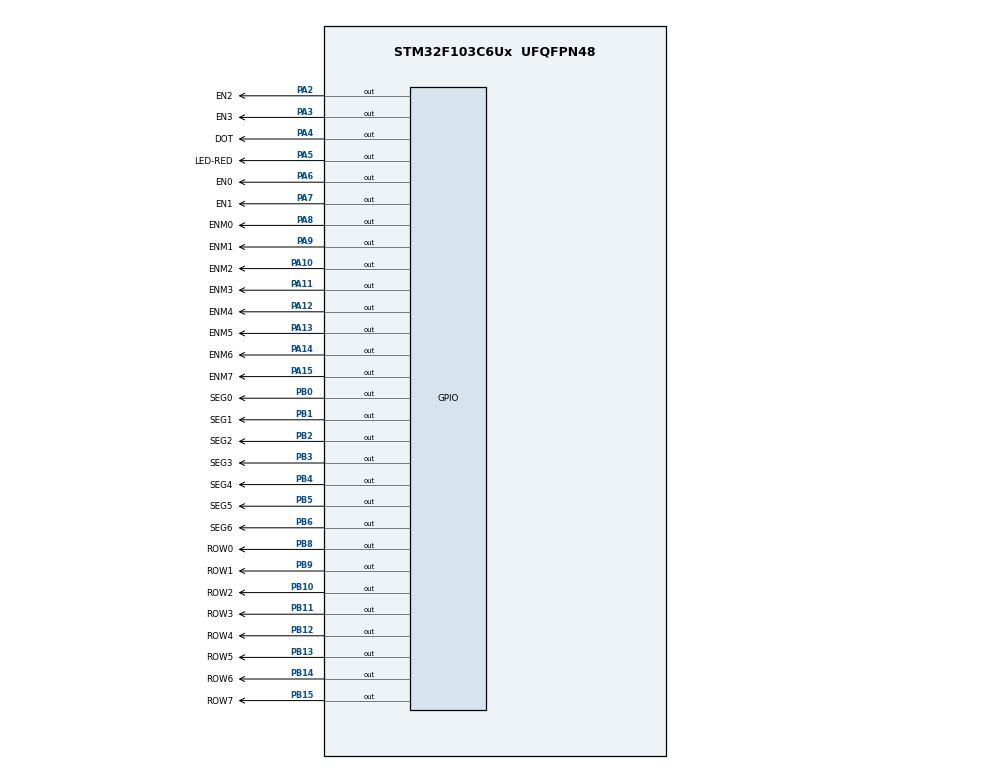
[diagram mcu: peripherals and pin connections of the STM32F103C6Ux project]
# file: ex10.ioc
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Mcu.Family=STM32F1
Mcu.Name=STM32F103C6Ux
Mcu.Package=UFQFPN48
NVIC.PriorityGroup=NVIC_PRIORITYGROUP_4
NVIC.TIM2_IRQn=true\:0\:0\:false\:false\:true\:true\:true\:true
PA10.GPIO_Label=ENM2
PA10.Signal=GPIO_Output
PA11.GPIO_Label=ENM3
PA11.Signal=GPIO_Output
PA12.GPIO_Label=ENM4
PA12.Signal=GPIO_Output
PA13.GPIO_Label=ENM5
PA13.Signal=GPIO_Output
PA14.GPIO_Label=ENM6
PA14.Signal=GPIO_Output
PA15.GPIO_Label=ENM7
PA15.Signal=GPIO_Output
PA2.GPIO_Label=EN2
PA2.Signal=GPIO_Output
PA3.GPIO_Label=EN3
PA3.Signal=GPIO_Output
PA4.GPIO_Label=DOT
PA4.Signal=GPIO_Output
PA5.GPIO_Label=LED-RED
PA5.Signal=GPIO_Output
PA6.GPIO_Label=EN0
PA6.Signal=GPIO_Output
PA7.GPIO_Label=EN1
PA7.Signal=GPIO_Output
PA8.GPIO_Label=ENM0
PA8.Signal=GPIO_Output
PA9.GPIO_Label=ENM1
PA9.Signal=GPIO_Output
PB0.GPIO_Label=SEG0
PB0.Signal=GPIO_Output
PB1.GPIO_Label=SEG1
PB1.Signal=GPIO_Output
PB10.GPIO_Label=ROW2
PB10.Signal=GPIO_Output
PB11.GPIO_Label=ROW3
PB11.Signal=GPIO_Output
PB12.GPIO_Label=ROW4
PB12.Signal=GPIO_Output
PB13.GPIO_Label=ROW5
PB13.Signal=GPIO_Output
PB14.GPIO_Label=ROW6
PB14.Signal=GPIO_Output
PB15.GPIO_Label=ROW7
PB15.Signal=GPIO_Output
PB2.GPIO_Label=SEG2
PB2.Signal=GPIO_Output
PB3.GPIO_Label=SEG3
PB3.Signal=GPIO_Output
PB4.GPIO_Label=SEG4
PB4.Signal=GPIO_Output
PB5.GPIO_Label=SEG5
PB5.Signal=GPIO_Output
PB6.GPIO_Label=SEG6
PB6.Signal=GPIO_Output
PB8.GPIO_Label=ROW0
PB8.Signal=GPIO_Output
PB9.GPIO_Label=ROW1
PB9.Signal=GPIO_Output
ProjectManager.HeapSize=0x200
ProjectManager.StackSize=0x400
ProjectManager.TargetToolchain=STM32CubeIDE
RCC.APB1Freq_Value=8000000
RCC.APB2Freq_Value=8000000
TIM2.Period=9
TIM2.Prescaler=7999
VP_TIM2_VS_ClockSourceINT.Mode=Internal
board=custom

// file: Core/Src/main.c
/* USER CODE BEGIN Header */
/**
  ******************************************************************************
  * @file           : main.c
  * @brief          : Main program body
  ******************************************************************************
  * @attention
  *
  * Copyright (c) 2022 STMicroelectronics.
  * All rights reserved.
  *
  * This software is licensed under terms that can be found in the LICENSE file
  * in the root directory of this software component.
  * If no LICENSE file comes with this software, it is provided AS-IS.
  *
  ******************************************************************************
  */
/* USER CODE END Header */
#include "main.h"

TIM_HandleTypeDef htim2;

void SystemClock_Config(void);
static void MX_GPIO_Init(void);
static void MX_TIM2_Init(void);

/* USER CODE BEGIN 0 */
void display7SEG(int num) {
	switch(num) {
	case 0:
		HAL_GPIO_WritePin(GPIOB, GPIO_PIN_0, RESET);
		HAL_GPIO_WritePin(GPIOB, GPIO_PIN_1, RESET);
		HAL_GPIO_WritePin(GPIOB, GPIO_PIN_2, RESET);
		HAL_GPIO_WritePin(GPIOB, GPIO_PIN_3, RESET);
		HAL_GPIO_WritePin(GPIOB, GPIO_PIN_4, RESET);
		HAL_GPIO_WritePin(GPIOB, GPIO_PIN_5, RESET);
		HAL_GPIO_WritePin(GPIOB, GPIO_PIN_6, SET);
		break;
	case 1:
		HAL_GPIO_WritePin(GPIOB, GPIO_PIN_0, SET);
		HAL_GPIO_WritePin(GPIOB, GPIO_PIN_1, RESET);
		HAL_GPIO_WritePin(GPIOB, GPIO_PIN_2, RESET);
		HAL_GPIO_WritePin(GPIOB, GPIO_PIN_3, SET);
		HAL_GPIO_WritePin(GPIOB, GPIO_PIN_4, SET);
		HAL_GPIO_WritePin(GPIOB, GPIO_PIN_5, SET);
		HAL_GPIO_WritePin(GPIOB, GPIO_PIN_6, SET);
		break;
	case 2:
		HAL_GPIO_WritePin(GPIOB, GPIO_PIN_0, RESET);
		HAL_GPIO_WritePin(GPIOB, GPIO_PIN_1, RESET);
		HAL_GPIO_WritePin(GPIOB, GPIO_PIN_2, SET);
		HAL_GPIO_WritePin(GPIOB, GPIO_PIN_3, RESET);
		HAL_GPIO_WritePin(GPIOB, GPIO_PIN_4, RESET);
		HAL_GPIO_WritePin(GPIOB, GPIO_PIN_5, SET);
		HAL_GPIO_WritePin(GPIOB, GPIO_PIN_6, RESET);
		break;
	case 3:
		HAL_GPIO_WritePin(GPIOB, GPIO_PIN_0, RESET);
		HAL_GPIO_WritePin(GPIOB, GPIO_PIN_1, RESET);
		HAL_GPIO_WritePin(GPIOB, GPIO_PIN_2, RESET);
		HAL_GPIO_WritePin(GPIOB, GPIO_PIN_3, RESET);
		HAL_GPIO_WritePin(GPIOB, GPIO_PIN_4, SET);
		HAL_GPIO_WritePin(GPIOB, GPIO_PIN_5, SET);
		HAL_GPIO_WritePin(GPIOB, GPIO_PIN_6, RESET);
		break;
	case 4:
		HAL_GPIO_WritePin(GPIOB, GPIO_PIN_0, SET);
		HAL_GPIO_WritePin(GPIOB, GPIO_PIN_1, RESET);
		HAL_GPIO_WritePin(GPIOB, GPIO_PIN_2, RESET);
		HAL_GPIO_WritePin(GPIOB, GPIO_PIN_3, SET);
		HAL_GPIO_WritePin(GPIOB, GPIO_PIN_4, SET);
		HAL_GPIO_WritePin(GPIOB, GPIO_PIN_5, RESET);
		HAL_GPIO_WritePin(GPIOB, GPIO_PIN_6, RESET);
		break;
	case 5:
		HAL_GPIO_WritePin(GPIOB, GPIO_PIN_0, RESET);
		HAL_GPIO_WritePin(GPIOB, GPIO_PIN_1, SET);
		HAL_GPIO_WritePin(GPIOB, GPIO_PIN_2, RESET);
		HAL_GPIO_WritePin(GPIOB, GPIO_PIN_3, RESET);
		HAL_GPIO_WritePin(GPIOB, GPIO_PIN_4, SET);
		HAL_GPIO_WritePin(GPIOB, GPIO_PIN_5, RESET);
		HAL_GPIO_WritePin(GPIOB, GPIO_PIN_6, RESET);
		break;
	case 6:
		HAL_GPIO_WritePin(GPIOB, GPIO_PIN_0, RESET);
		HAL_GPIO_WritePin(GPIOB, GPIO_PIN_1, SET);
		HAL_GPIO_WritePin(GPIOB, GPIO_PIN_2, RESET);
		HAL_GPIO_WritePin(GPIOB, GPIO_PIN_3, RESET);
		HAL_GPIO_WritePin(GPIOB, GPIO_PIN_4, RESET);
		HAL_GPIO_WritePin(GPIOB, GPIO_PIN_5, RESET);
		HAL_GPIO_WritePin(GPIOB, GPIO_PIN_6, RESET);
		break;
	case 7:
		HAL_GPIO_WritePin(GPIOB, GPIO_PIN_0, RESET);
		HAL_GPIO_WritePin(GPIOB, GPIO_PIN_1, RESET);
		HAL_GPIO_WritePin(GPIOB, GPIO_PIN_2, RESET);
		HAL_GPIO_WritePin(GPIOB, GPIO_PIN_3, SET);
		HAL_GPIO_WritePin(GPIOB, GPIO_PIN_4, SET);
		HAL_GPIO_WritePin(GPIOB, GPIO_PIN_5, SET);
		HAL_GPIO_WritePin(GPIOB, GPIO_PIN_6, SET);
		break;
	case 8:
		HAL_GPIO_WritePin(GPIOB, GPIO_PIN_0, RESET);
		HAL_GPIO_WritePin(GPIOB, GPIO_PIN_1, RESET);
		HAL_GPIO_WritePin(GPIOB, GPIO_PIN_2, RESET);
		HAL_GPIO_WritePin(GPIOB, GPIO_PIN_3, RESET);
		HAL_GPIO_WritePin(GPIOB, GPIO_PIN_4, RESET);
		HAL_GPIO_WritePin(GPIOB, GPIO_PIN_5, RESET);
		HAL_GPIO_WritePin(GPIOB, GPIO_PIN_6, RESET);
		break;
	case 9:
		HAL_GPIO_WritePin(GPIOB, GPIO_PIN_0, RESET);
		HAL_GPIO_WritePin(GPIOB, GPIO_PIN_1, RESET);
		HAL_GPIO_WritePin(GPIOB, GPIO_PIN_2, RESET);
		HAL_GPIO_WritePin(GPIOB, GPIO_PIN_3, RESET);
		HAL_GPIO_WritePin(GPIOB, GPIO_PIN_4, SET);
		HAL_GPIO_WritePin(GPIOB, GPIO_PIN_5, RESET);
		HAL_GPIO_WritePin(GPIOB, GPIO_PIN_6, RESET);
		break;
	}
}

const int MAX_LED = 4;
int index_led = 0;
int led_buffer [4] = {1 , 2 , 3 , 4};
void update7SEG ( int index ) {
	switch ( index ) {
	case 0:
		// Display the first 7 SEG with led_buffer [0]
		HAL_GPIO_WritePin(GPIOA, GPIO_PIN_6, 0);
		HAL_GPIO_WritePin(GPIOA, GPIO_PIN_7|GPIO_PIN_2|GPIO_PIN_3, 1);
		display7SEG(led_buffer[0]);
		break ;
	case 1:
		// Display the second 7 SEG with led_buffer [1]
		HAL_GPIO_WritePin(GPIOA, GPIO_PIN_7, 0);
		HAL_GPIO_WritePin(GPIOA, GPIO_PIN_6|GPIO_PIN_2|GPIO_PIN_3, 1);
		display7SEG(led_buffer[1]);
		break ;
	case 2:
		// Display the third 7 SEG with led_buffer [2]
		HAL_GPIO_WritePin(GPIOA, GPIO_PIN_2, 0);
		HAL_GPIO_WritePin(GPIOA, GPIO_PIN_6|GPIO_PIN_7|GPIO_PIN_3, 1);
		display7SEG(led_buffer[2]);
		break ;
	case 3:
		// Display the forth 7 SEG with led_buffer [3]
		HAL_GPIO_WritePin(GPIOA, GPIO_PIN_3, 0);
		HAL_GPIO_WritePin(GPIOA, GPIO_PIN_6|GPIO_PIN_7|GPIO_PIN_2, 1);
		display7SEG(led_buffer[3]);
		break ;
	default :
		break ;
	}
 }

int hour = 15 , minute = 8 , second = 50;
void updateClockBuffer() {
	led_buffer[0] = hour/10;
	led_buffer[1] = hour%10;
	led_buffer[2] = minute/10;
	led_buffer[3] = minute%10;
}

//Software timer
int TIMER_CYCLE = 10;
int timer0_counter = 0;
int timer0_flag = 0;

int timer1_counter = 0;
int timer1_flag = 0;

int timer2_counter = 0;
int timer2_flag = 0;

int timer3_counter = 0;
int timer3_flag = 0;
void setTimer0 ( int duration ) {
	timer0_counter = duration / TIMER_CYCLE ;
	timer0_flag = 0;
}
void setTimer1 ( int duration ) {
	timer1_counter = duration / TIMER_CYCLE ;
	timer1_flag = 0;
}
void setTimer2 ( int duration ) {
	timer2_counter = duration / TIMER_CYCLE ;
	timer2_flag = 0;
}
void setTimer3 ( int duration ) {
	timer3_counter = duration / TIMER_CYCLE ;
	timer3_flag = 0;
}
void timer_run () {
	if (timer0_counter > 0) {
		timer0_counter --;
		if( timer0_counter == 0) timer0_flag = 1;
	}
	if (timer1_counter > 0) {
		timer1_counter --;
		if( timer1_counter == 0) timer1_flag = 1;
	}
	if (timer2_counter > 0) {
		timer2_counter --;
		if( timer2_counter == 0) timer2_flag = 1;
	}
	if (timer3_counter > 0) {
		timer3_counter --;
		if( timer3_counter == 0) timer3_flag = 1;
	}
}

// hien thuc led matrix
const int MAX_LED_MATRIX = 8;
int index_led_matrix = 0;
uint8_t matrix_buffer[8] = { 0x00, 0x7C, 0x7E, 0x13, 0x13, 0x7E, 0x7C, 0x00}; //thu tu moi column led cua 'A'
void updateLEDMatrix (int index ) {
	GPIOB->BSRR = (1<<24)|(1<<25)|(1<<26)|(1<<27)|(1<<28)|(1<<29)|(1<<30)|(1<<31);
	GPIOA->BSRR = (1<<24)|(1<<25)|(1<<26)|(1<<27)|(1<<28)|(1<<29)|(1<<30)|(1<<31);
	switch ( index ) {
	case 0:
		HAL_GPIO_WritePin(GPIOB, GPIO_PIN_8, SET);
		GPIOA->ODR |= matrix_buffer[0]<<8;
		break ;
	case 1:
		HAL_GPIO_WritePin(GPIOB, GPIO_PIN_9, SET);
		GPIOA->ODR |= matrix_buffer[1]<<8;
		break ;
	case 2:
		HAL_GPIO_WritePin(GPIOB, GPIO_PIN_10, SET);
		GPIOA->ODR |= matrix_buffer[2]<<8;
		break ;
	case 3:
		HAL_GPIO_WritePin(GPIOB, GPIO_PIN_11, SET);
		GPIOA->ODR |= matrix_buffer[3]<<8;
		break ;
	case 4:
		HAL_GPIO_WritePin(GPIOB, GPIO_PIN_12, SET);
		GPIOA->ODR |= matrix_buffer[4]<<8;
		break ;
	case 5:
		HAL_GPIO_WritePin(GPIOB, GPIO_PIN_13, SET);
		GPIOA->ODR |= matrix_buffer[5]<<8;
		break ;
	case 6:
		HAL_GPIO_WritePin(GPIOB, GPIO_PIN_14, SET);
		GPIOA->ODR |= matrix_buffer[6]<<8;
		break ;
	case 7:
		HAL_GPIO_WritePin(GPIOB, GPIO_PIN_15, SET);
		GPIOA->ODR |= matrix_buffer[7]<<8;
		break ;
	default :
		break ;
	}
}

//update shift left
void updateLEDMatrix1 (int index, int shift) {
	GPIOB->BSRR = (1<<24)|(1<<25)|(1<<26)|(1<<27)|(1<<28)|(1<<29)|(1<<30)|(1<<31);
	GPIOA->BSRR = (1<<24)|(1<<25)|(1<<26)|(1<<27)|(1<<28)|(1<<29)|(1<<30)|(1<<31);
	int index_1;
	if (index + shift > 8) index_1 = shift + index - 8;
	else index_1 = index + shift;
	switch ( index ) {
	case 0:
		HAL_GPIO_WritePin(GPIOB, GPIO_PIN_8, SET);
		GPIOA->ODR |= matrix_buffer[index_1]<<8;
		break ;
	case 1:
		HAL_GPIO_WritePin(GPIOB, GPIO_PIN_9, SET);
		GPIOA->ODR |= matrix_buffer[index_1]<<8;
		break ;
	case 2:
		HAL_GPIO_WritePin(GPIOB, GPIO_PIN_10, SET);
		GPIOA->ODR |= matrix_buffer[index_1]<<8;
		break ;
	case 3:
		HAL_GPIO_WritePin(GPIOB, GPIO_PIN_11, SET);
		GPIOA->ODR |= matrix_buffer[index_1]<<8;
		break ;
	case 4:
		HAL_GPIO_WritePin(GPIOB, GPIO_PIN_12, SET);
		GPIOA->ODR |= matrix_buffer[index_1]<<8;
		break ;
	case 5:
		HAL_GPIO_WritePin(GPIOB, GPIO_PIN_13, SET);
		GPIOA->ODR |= matrix_buffer[index_1]<<8;
		break ;
	case 6:
		HAL_GPIO_WritePin(GPIOB, GPIO_PIN_14, SET);
		GPIOA->ODR |= matrix_buffer[index_1]<<8;
		break ;
	case 7:
		HAL_GPIO_WritePin(GPIOB, GPIO_PIN_15, SET);
		GPIOA->ODR |= matrix_buffer[index_1]<<8;
		break ;
	default :
		break ;
	}
}

/* USER CODE END 0 */

int main(void)
{

  /* MCU Configuration--------------------------------------------------------*/

  /* Reset of all peripherals, Initializes the Flash interface and the Systick. */
  HAL_Init();

  /* Configure the system clock */
  SystemClock_Config();

  /* Initialize all configured peripherals */
  MX_GPIO_Init();
  MX_TIM2_Init();
  /* USER CODE BEGIN 2 */
  HAL_TIM_Base_Start_IT(&htim2);
  setTimer0(1000);
  setTimer1(1000);
  setTimer2(250);
  setTimer3(50);
  int shift = 0;
  /* USER CODE END 2 */

  /* Infinite loop */
  /* USER CODE BEGIN WHILE */
  while (1)
  {
	  if (timer0_flag == 1) {
		  HAL_GPIO_TogglePin(GPIOA, GPIO_PIN_5);
		  HAL_GPIO_TogglePin(GPIOA, GPIO_PIN_4);
		  setTimer0(1000);
	  }
	  if (timer1_flag == 1) {
		  second ++;
		  if (second >= 60) {
			  second = 0;
			  minute ++;
		  }
		  if (minute >= 60) {
			  minute = 0;
			  hour ++;
		  }
		  if(hour >= 24) {
			  hour = 0;
		  }
		  updateClockBuffer () ;
		  setTimer1(1000);
	  }
	  if (timer2_flag == 1) {
		  if (index_led >= 4) index_led = 0;
		  update7SEG(index_led++);
		  setTimer2(250);
	  }
	  if (timer3_flag == 1) {
		  if (index_led_matrix >= 8){
			  index_led_matrix = 0;
			  shift++;
			  if (shift >= 8) shift = 0;
		  }
		  updateLEDMatrix1(index_led_matrix++, shift);
		  setTimer3(50);
	  }
    /* USER CODE END WHILE */

  }
}

void SystemClock_Config(void)
{
  RCC_OscInitTypeDef RCC_OscInitStruct = {0};
  RCC_ClkInitTypeDef RCC_ClkInitStruct = {0};

  /** Initializes the RCC Oscillators according to the specified parameters
  * in the RCC_OscInitTypeDef structure.
  */
  RCC_OscInitStruct.OscillatorType = RCC_OSCILLATORTYPE_HSI;
  RCC_OscInitStruct.HSIState = RCC_HSI_ON;
  RCC_OscInitStruct.HSICalibrationValue = RCC_HSICALIBRATION_DEFAULT;
  RCC_OscInitStruct.PLL.PLLState = RCC_PLL_NONE;
  if (HAL_RCC_OscConfig(&RCC_OscInitStruct) != HAL_OK)
  {
    Error_Handler();
  }

  /** Initializes the CPU, AHB and APB buses clocks
  */
  RCC_ClkInitStruct.ClockType = RCC_CLOCKTYPE_HCLK|RCC_CLOCKTYPE_SYSCLK
                              |RCC_CLOCKTYPE_PCLK1|RCC_CLOCKTYPE_PCLK2;
  RCC_ClkInitStruct.SYSCLKSource = RCC_SYSCLKSOURCE_HSI;
  RCC_ClkInitStruct.AHBCLKDivider = RCC_SYSCLK_DIV1;
  RCC_ClkInitStruct.APB1CLKDivider = RCC_HCLK_DIV1;
  RCC_ClkInitStruct.APB2CLKDivider = RCC_HCLK_DIV1;

  if (HAL_RCC_ClockConfig(&RCC_ClkInitStruct, FLASH_LATENCY_0) != HAL_OK)
  {
    Error_Handler();
  }
}

static void MX_TIM2_Init(void)
{

  TIM_ClockConfigTypeDef sClockSourceConfig = {0};
  TIM_MasterConfigTypeDef sMasterConfig = {0};

  htim2.Instance = TIM2;
  htim2.Init.Prescaler = 7999;
  htim2.Init.CounterMode = TIM_COUNTERMODE_UP;
  htim2.Init.Period = 9;
  htim2.Init.ClockDivision = TIM_CLOCKDIVISION_DIV1;
  htim2.Init.AutoReloadPreload = TIM_AUTORELOAD_PRELOAD_DISABLE;
  if (HAL_TIM_Base_Init(&htim2) != HAL_OK)
  {
    Error_Handler();
  }
  sClockSourceConfig.ClockSource = TIM_CLOCKSOURCE_INTERNAL;
  if (HAL_TIM_ConfigClockSource(&htim2, &sClockSourceConfig) != HAL_OK)
  {
    Error_Handler();
  }
  sMasterConfig.MasterOutputTrigger = TIM_TRGO_RESET;
  sMasterConfig.MasterSlaveMode = TIM_MASTERSLAVEMODE_DISABLE;
  if (HAL_TIMEx_MasterConfigSynchronization(&htim2, &sMasterConfig) != HAL_OK)
  {
    Error_Handler();
  }

}

static void MX_GPIO_Init(void)
{
  GPIO_InitTypeDef GPIO_InitStruct = {0};

  /* GPIO Ports Clock Enable */
  __HAL_RCC_GPIOA_CLK_ENABLE();
  __HAL_RCC_GPIOB_CLK_ENABLE();

  /*Configure GPIO pin Output Level */
  HAL_GPIO_WritePin(GPIOA, EN2_Pin|EN3_Pin|DOT_Pin|LED_RED_Pin
                          |EN0_Pin|EN1_Pin|ENM0_Pin|ENM1_Pin
                          |ENM2_Pin|ENM3_Pin|ENM4_Pin|ENM5_Pin
                          |ENM6_Pin|ENM7_Pin, GPIO_PIN_RESET);

  /*Configure GPIO pin Output Level */
  HAL_GPIO_WritePin(GPIOB, SEG0_Pin|SEG1_Pin|SEG2_Pin|ROW2_Pin
                          |ROW3_Pin|ROW4_Pin|ROW5_Pin|ROW6_Pin
                          |ROW7_Pin|SEG3_Pin|SEG4_Pin|SEG5_Pin
                          |SEG6_Pin|ROW0_Pin|ROW1_Pin, GPIO_PIN_RESET);

  /*Configure GPIO pins : EN2_Pin EN3_Pin DOT_Pin LED_RED_Pin
                           EN0_Pin EN1_Pin ENM0_Pin ENM1_Pin
                           ENM2_Pin ENM3_Pin ENM4_Pin ENM5_Pin
                           ENM6_Pin ENM7_Pin */
  GPIO_InitStruct.Pin = EN2_Pin|EN3_Pin|DOT_Pin|LED_RED_Pin
                          |EN0_Pin|EN1_Pin|ENM0_Pin|ENM1_Pin
                          |ENM2_Pin|ENM3_Pin|ENM4_Pin|ENM5_Pin
                          |ENM6_Pin|ENM7_Pin;
  GPIO_InitStruct.Mode = GPIO_MODE_OUTPUT_PP;
  GPIO_InitStruct.Pull = GPIO_NOPULL;
  GPIO_InitStruct.Speed = GPIO_SPEED_FREQ_LOW;
  HAL_GPIO_Init(GPIOA, &GPIO_InitStruct);

  /*Configure GPIO pins : SEG0_Pin SEG1_Pin SEG2_Pin ROW2_Pin
                           ROW3_Pin ROW4_Pin ROW5_Pin ROW6_Pin
                           ROW7_Pin SEG3_Pin SEG4_Pin SEG5_Pin
                           SEG6_Pin ROW0_Pin ROW1_Pin */
  GPIO_InitStruct.Pin = SEG0_Pin|SEG1_Pin|SEG2_Pin|ROW2_Pin
                          |ROW3_Pin|ROW4_Pin|ROW5_Pin|ROW6_Pin
                          |ROW7_Pin|SEG3_Pin|SEG4_Pin|SEG5_Pin
                          |SEG6_Pin|ROW0_Pin|ROW1_Pin;
  GPIO_InitStruct.Mode = GPIO_MODE_OUTPUT_PP;
  GPIO_InitStruct.Pull = GPIO_NOPULL;
  GPIO_InitStruct.Speed = GPIO_SPEED_FREQ_LOW;
  HAL_GPIO_Init(GPIOB, &GPIO_InitStruct);

}

/* USER CODE BEGIN 4 */
void HAL_TIM_PeriodElapsedCallback ( TIM_HandleTypeDef * htim )
{
	timer_run();
}
/* USER CODE END 4 */

void Error_Handler(void)
{
  __disable_irq();
  while (1)
  {
  }
}
